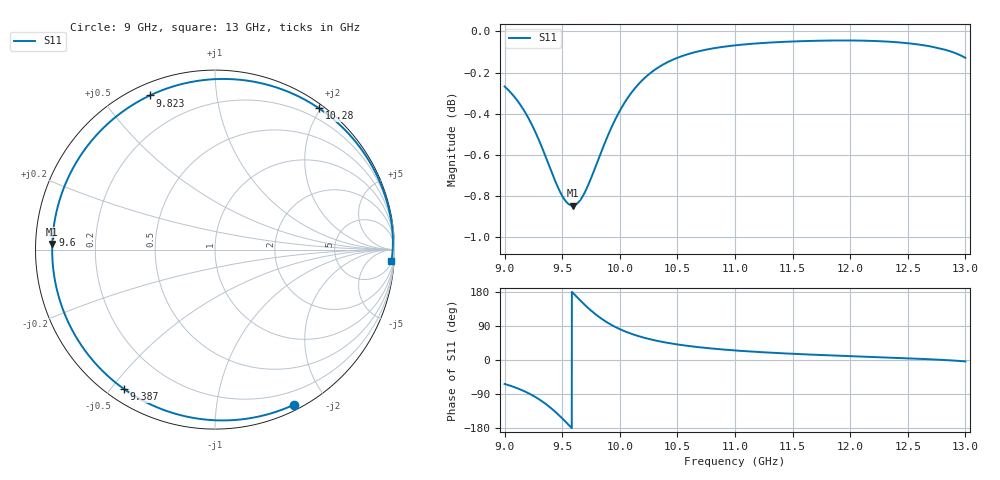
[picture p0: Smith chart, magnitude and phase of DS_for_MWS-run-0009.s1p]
! TOUCHSTONE file generated by CST DESIGN STUDIO
! Date and time: Tue Feb  4 13:46:41 2025
! Project name: C:\Work\MatlabApps\UnitCellOptimizationMatlab\CST\unitcell.cst
! Tree item: Tasks\Sweep1\SPara1\S-Parameters
! Header version: 2024
! Port assignment regex: !\s*Touchstone port\s*([0-9]+)\s*=\s*(CST MWS port|CST DES external port|CST DES block port)\s*(.+)\s* \(\"(.*)\"\)(\s*mode\s*([0-9]+))?.*
! Touchstone port assignment:
! Touchstone port 1 = CST DES external port 1 ("")
# GHz S MA R 50
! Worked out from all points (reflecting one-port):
!   4001 points, 9 GHz to 13 GHz, reference 50 ohm
!   lowest |S11| = -0.8 dB at 9.59 GHz (marker M1), VSWR 20.54, Z = 2.43 + j0.874 ohm
!   phase of S11 starts at -63 deg and turns -301 deg over the sweep
!   S11 on the Smith chart (normalised r, x): 9 GHz: 0.06, -1.62; 9.387 GHz: 0.05, -0.54; 9.6 GHz: 0.05, +0.05; 9.823 GHz: 0.05, +0.66; 10.28 GHz: 0.06, +1.98; 13 GHz: 7, -29
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9  0.9697 -63.2
9.049  0.9666 -67.9
9.118  0.9614 -75.5
9.236  0.9492 -92.3
9.316  0.9384 -107.1
9.387  0.9275 -123.0
9.443  0.9192 -137.6
9.5  0.9121 -154.0
9.546  0.9084 -168.1
9.59  0.9072 178.0
9.6  0.9072 174.8
9.655  0.9098 157.7
9.717  0.9164 139.5
9.769  0.9239 125.7
9.823  0.9323 112.9
9.903  0.9443 96.8
10  0.9565 81.4
10.063  0.963 73.4
10.13  0.9686 66.1
10.279  0.9776 53.6
10.383  0.9819 47.0
10.5  0.9853 41.1
10.72  0.9895 32.7
11  0.9922 25.2
11.5  0.9944 16.4
12  0.9949 10.2
12.5  0.9934 4.5
13  0.9853 -3.7
